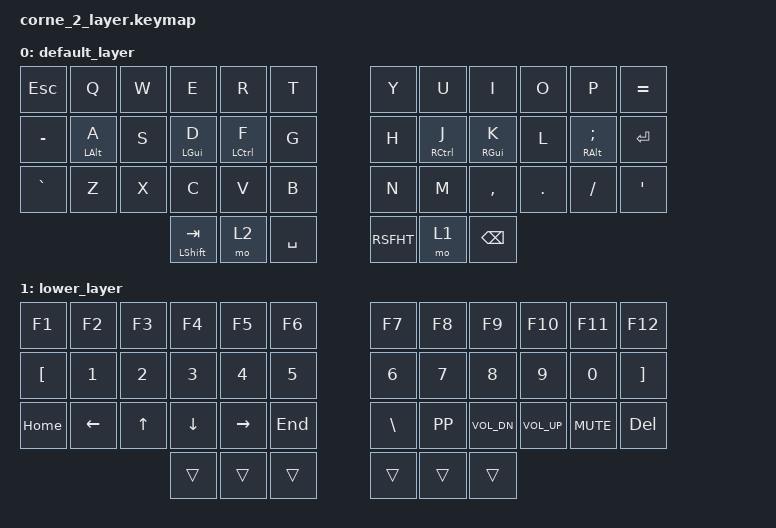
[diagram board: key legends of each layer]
#include <behaviors.dtsi>
#include <dt-bindings/zmk/keys.h>
#include <dt-bindings/zmk/bt.h>

#define COMBO(NAME, BINDINGS, KEYPOS, LAYERS) \
  combo_##NAME { \
    timeout-ms = <50>; \
    bindings = <BINDINGS>; \
    key-positions = <KEYPOS>; \
    layers = <LAYERS>; \
  };

/ {
    behaviors {
        hm: homerow_mods {
            compatible = "zmk,behavior-hold-tap";
            #binding-cells = <2>;
            tapping-term-ms = <175>;
            quick-tap-ms = <0>;
            flavor = "tap-preferred";
            bindings = <&kp>, <&kp>;
        };
    };

    combos {
        compatible = "zmk,combos";
        COMBO(bt_clear, &bt BT_CLR, 24 35, 0)
        COMBO(bt_1, &bt BT_SEL_0, 0 11, 1)
        COMBO(bt_2, &bt BT_SEL_1, 12 23, 1)
        COMBO(bt_3, &bt BT_SEL_2, 24 35, 1)
        COMBO(caps_lock, &kp CAPS, 11 13, 1)
    };

    keymap {
        compatible = "zmk,keymap";

        default_layer {
            bindings = <
                &kp ESC   &kp Q      &kp W &kp E      &kp R       &kp T         &kp Y &kp U       &kp I      &kp O   &kp P         &kp EQUAL
                &kp MINUS &hm LALT A &kp S &hm LGUI D &hm LCTRL F &kp G         &kp H &hm RCTRL J &hm RGUI K &kp L   &hm RALT SEMI &kp RET
                &kp GRAVE &kp Z      &kp X &kp C      &kp V       &kp B         &kp N &kp M       &kp COMMA  &kp DOT &kp FSLH      &kp SQT
                                        &hm LSHFT TAB  &mo 2  &kp SPACE         &kp RSFHT  &mo 1  &kp BSPC
            >;
        };

        lower_layer {
            bindings = <
                &kp F1   &kp F2   &kp F3 &kp F4   &kp F5    &kp F6     &kp F7   &kp F8   &kp F9       &kp F10      &kp F11    &kp F12
                &kp LBKT &kp N1   &kp N2 &kp N3   &kp N4    &kp N5     &kp N6   &kp N7   &kp N8       &kp N9       &kp N0     &kp RBKT
                &kp HOME &kp LEFT &kp UP &kp DOWN &kp RIGHT &kp END    &kp BSLH &kp K_PP &kp K_VOL_DN &kp K_VOL_UP &kp K_MUTE &kp DEL
                                              &trans    &trans    &trans      &trans     &trans   &trans
            >;
        };
    };
};
